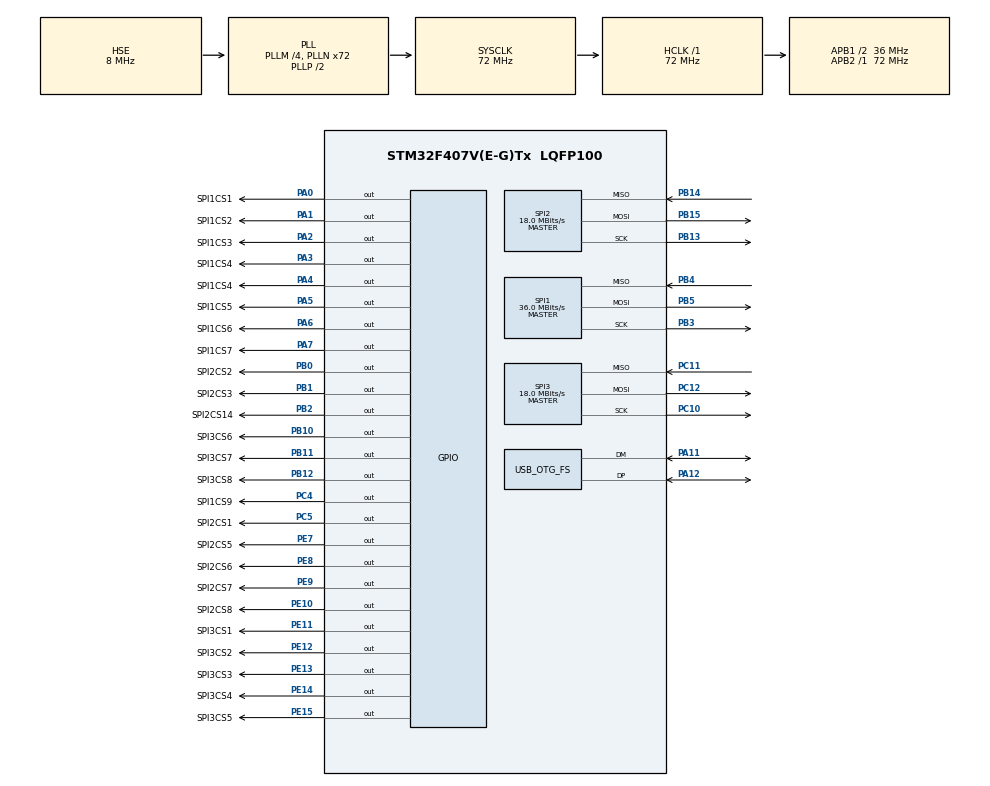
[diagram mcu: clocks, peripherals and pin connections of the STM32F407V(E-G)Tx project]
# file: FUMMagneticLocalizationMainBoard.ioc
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Mcu.Family=STM32F4
Mcu.Name=STM32F407V(E-G)Tx
Mcu.Package=LQFP100
NVIC.OTG_FS_IRQn=true\:0\:0\:false\:false\:true
NVIC.PriorityGroup=NVIC_PRIORITYGROUP_4
PA0-WKUP.GPIO_Label=SPI1CS1
PA0-WKUP.Signal=GPIO_Output
PA1.GPIO_Label=SPI1CS2
PA1.Signal=GPIO_Output
PA11.Mode=Device_Only
PA11.Signal=USB_OTG_FS_DM
PA12.Mode=Device_Only
PA12.Signal=USB_OTG_FS_DP
PA13.Mode=Serial_Wire
PA13.Signal=SYS_JTMS-SWDIO
PA14.Mode=Serial_Wire
PA14.Signal=SYS_JTCK-SWCLK
PA2.GPIO_Label=SPI1CS3
PA2.Signal=GPIO_Output
PA3.GPIO_Label=SPI1CS4
PA3.Signal=GPIO_Output
PA4.GPIO_Label=SPI1CS4
PA4.Signal=GPIO_Output
PA5.GPIO_Label=SPI1CS5
PA5.Signal=GPIO_Output
PA6.GPIO_Label=SPI1CS6
PA6.Signal=GPIO_Output
PA7.GPIO_Label=SPI1CS7
PA7.Signal=GPIO_Output
PB0.GPIO_Label=SPI2CS2
PB0.Signal=GPIO_Output
PB1.GPIO_Label=SPI2CS3
PB1.Signal=GPIO_Output
PB10.GPIO_Label=SPI3CS6
PB10.Signal=GPIO_Output
PB11.GPIO_Label=SPI3CS7
PB11.Signal=GPIO_Output
PB12.GPIO_Label=SPI3CS8
PB12.Signal=GPIO_Output
PB13.Mode=Full_Duplex_Master
PB13.Signal=SPI2_SCK
PB14.Mode=Full_Duplex_Master
PB14.Signal=SPI2_MISO
PB15.Mode=Full_Duplex_Master
PB15.Signal=SPI2_MOSI
PB2.GPIO_Label=SPI2CS14
PB2.Signal=GPIO_Output
PB3.Mode=Full_Duplex_Master
PB3.Signal=SPI1_SCK
PB4.Mode=Full_Duplex_Master
PB4.Signal=SPI1_MISO
PB5.Mode=Full_Duplex_Master
PB5.Signal=SPI1_MOSI
PC10.Mode=Full_Duplex_Master
PC10.Signal=SPI3_SCK
PC11.Mode=Full_Duplex_Master
PC11.Signal=SPI3_MISO
PC12.Mode=Full_Duplex_Master
PC12.Signal=SPI3_MOSI
PC4.GPIO_Label=SPI1CS9
PC4.Signal=GPIO_Output
PC5.GPIO_Label=SPI2CS1
PC5.Signal=GPIO_Output
PE10.GPIO_Label=SPI2CS8
PE10.Signal=GPIO_Output
PE11.GPIO_Label=SPI3CS1
PE11.Signal=GPIO_Output
PE12.GPIO_Label=SPI3CS2
PE12.Signal=GPIO_Output
PE13.GPIO_Label=SPI3CS3
PE13.Signal=GPIO_Output
PE14.GPIO_Label=SPI3CS4
PE14.Signal=GPIO_Output
PE15.GPIO_Label=SPI3CS5
PE15.Signal=GPIO_Output
PE7.GPIO_Label=SPI2CS5
PE7.Signal=GPIO_Output
PE8.GPIO_Label=SPI2CS6
PE8.Signal=GPIO_Output
PE9.GPIO_Label=SPI2CS7
PE9.Signal=GPIO_Output
PH0-OSC_IN.Mode=HSE-External-Oscillator
PH0-OSC_IN.Signal=RCC_OSC_IN
PH1-OSC_OUT.Mode=HSE-External-Oscillator
PH1-OSC_OUT.Signal=RCC_OSC_OUT
ProjectManager.HeapSize=0x200
ProjectManager.StackSize=0x400
ProjectManager.TargetToolchain=SW4STM32
RCC.48MHZClocksFreq_Value=48000000
RCC.AHBFreq_Value=72000000
RCC.APB1CLKDivider=RCC_HCLK_DIV2
RCC.APB1Freq_Value=36000000
RCC.APB1TimFreq_Value=72000000
RCC.APB2Freq_Value=72000000
RCC.APB2TimFreq_Value=72000000
RCC.CortexFreq_Value=72000000
RCC.HCLKFreq_Value=72000000
RCC.HSE_VALUE=8000000
RCC.HSI_VALUE=16000000
RCC.LSE_VALUE=32768
RCC.PLLM=4
RCC.PLLN=72
RCC.PLLQ=3
RCC.SYSCLKFreq_VALUE=72000000
RCC.SYSCLKSource=RCC_SYSCLKSOURCE_PLLCLK
RCC.VCOOutputFreq_Value=144000000
SPI1.CalculateBaudRate=36.0 MBits/s
SPI1.Mode=SPI_MODE_MASTER
SPI2.CalculateBaudRate=18.0 MBits/s
SPI2.Mode=SPI_MODE_MASTER
SPI3.CalculateBaudRate=18.0 MBits/s
SPI3.Mode=SPI_MODE_MASTER
USB_DEVICE.CLASS_NAME_FS=CDC
USB_DEVICE.USBD_MAX_STR_DESC_SIZ-CDC_FS=512
USB_DEVICE.VirtualModeFS=Cdc_FS
USB_OTG_FS.VirtualMode=Device_Only
USB_OTG_FS.vbus_sensing_enable=DISABLE
VP_USB_DEVICE_VS_USB_DEVICE_CDC_FS.Mode=CDC_FS
board=FUMMagneticLocalizationMainBoard

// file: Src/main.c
/**
 ******************************************************************************
 * File Name          : main.c
 * Description        : Main program body
 ******************************************************************************
 *
 * Copyright (c) 2017 STMicroelectronics International N.V.
 * All rights reserved.
 *
 * Redistribution and use in source and binary forms, with or without
 * modification, are permitted, provided that the following conditions are met:
 *
 * 1. Redistribution of source code must retain the above copyright notice,
 *    this list of conditions and the following disclaimer.
 * 2. Redistributions in binary form must reproduce the above copyright notice,
 *    this list of conditions and the following disclaimer in the documentation
 *    and/or other materials provided with the distribution.
 * 3. Neither the name of STMicroelectronics nor the names of other
 *    contributors to this software may be used to endorse or promote products
 *    derived from this software without specific written permission.
 * 4. This software, including modifications and/or derivative works of this
 *    software, must execute solely and exclusively on microcontroller or
 *    microprocessor devices manufactured by or for STMicroelectronics.
 * 5. Redistribution and use of this software other than as permitted under
 *    this license is void and will automatically terminate your rights under
 *    this license.
 *
 * THIS SOFTWARE IS PROVIDED BY STMICROELECTRONICS AND CONTRIBUTORS "AS IS"
 * AND ANY EXPRESS, IMPLIED OR STATUTORY WARRANTIES, INCLUDING, BUT NOT
 * LIMITED TO, THE IMPLIED WARRANTIES OF MERCHANTABILITY, FITNESS FOR A
 * PARTICULAR PURPOSE AND NON-INFRINGEMENT OF THIRD PARTY INTELLECTUAL PROPERTY
 * RIGHTS ARE DISCLAIMED TO THE FULLEST EXTENT PERMITTED BY LAW. IN NO EVENT
 * SHALL STMICROELECTRONICS OR CONTRIBUTORS BE LIABLE FOR ANY DIRECT, INDIRECT,
 * INCIDENTAL, SPECIAL, EXEMPLARY, OR CONSEQUENTIAL DAMAGES (INCLUDING, BUT NOT
 * LIMITED TO, PROCUREMENT OF SUBSTITUTE GOODS OR SERVICES; LOSS OF USE, DATA,
 * OR PROFITS; OR BUSINESS INTERRUPTION) HOWEVER CAUSED AND ON ANY THEORY OF
 * LIABILITY, WHETHER IN CONTRACT, STRICT LIABILITY, OR TORT (INCLUDING
 * NEGLIGENCE OR OTHERWISE) ARISING IN ANY WAY OUT OF THE USE OF THIS SOFTWARE,
 * EVEN IF ADVISED OF THE POSSIBILITY OF SUCH DAMAGE.
 *
 ******************************************************************************
 */
#include "main.h"
#include "stm32f4xx_hal.h"
#include "spi.h"
#include "usb_device.h"
#include "gpio.h"

/* USER CODE BEGIN Includes */
#include "lis3mdl.h"
/* USER CODE END Includes */

#define NumOfSensors 1
/* USER CODE BEGIN PV */
/* Private variables ---------------------------------------------------------*/

/* USER CODE END PV */

void SystemClock_Config(void);
void Error_Handler(void);

/* USER CODE BEGIN PFP */
/* Private function prototypes -----------------------------------------------*/
/* USER CODE END PFP */

/* USER CODE BEGIN 0 */
HAL_StatusTypeDef LIS3MDL_ConnectAndConfig(LIS3MDL* Sensors,
		SPI_HandleTypeDef* spi, GPIO_TypeDef* gpio, uint16_t _pin,
		uint8_t performance, uint8_t mode, uint8_t scale, int8_t enableTemp);
int _write(int fd, char *ptr, int len) {
	CDC_Transmit_FS((uint8_t*) ptr, len);
	return len;
}
/* USER CODE END 0 */

int main(void) {

	/* MCU Configuration----------------------------------------------------------*/

	/* Reset of all peripherals, Initializes the Flash interface and the Systick. */
	HAL_Init();

	/* Configure the system clock */
	SystemClock_Config();

	/* Initialize all configured peripherals */
	MX_GPIO_Init();
	MX_SPI1_Init();
	MX_SPI2_Init();
	MX_SPI3_Init();
	MX_USB_DEVICE_Init();

	/* USER CODE BEGIN 2 */
	printf("sadra is here\r\n");
	HAL_StatusTypeDef status = HAL_BUSY;
	uint8_t res = 0x00;
//	LIS3MDL this;
	LIS3MDL Sensor[NumOfSensors];
	LIS3MDL_ConnectAndConfig(&Sensor[0],&hspi3,SPI3CS8_GPIO_Port,SPI3CS8_Pin,LIS3MDL_PERFORMANCE_ULTRA_HIGH,LIS3MDL_MODE_CONTINUOUS,LIS3MDL_SCALE_16_GAUSS,1);;
//	(LIS3MDL_readStatus(&Sensor[0], &res) == 0) ?
//			printf("LIS3MDL Status :  %d\r\n", res) :
//			printf("failed to get status\r\n");

	int16_t val[3] = { 0 };

	/* USER CODE END 2 */

	/* Infinite loop */
	while (1) {

		/* USER CODE BEGIN 3 */
		LIS3MDL_readTemperature(&Sensor[0], &res);
		LIS3MDL_readAxis(&Sensor[0], 0, &val[0]);
		LIS3MDL_readAxis(&Sensor[0], 1, &val[1]);
		LIS3MDL_readAxis(&Sensor[0], 2, &val[2]);

		printf("%d   %d    %d    %d \n", res, val[0], val[1], val[2]);
		HAL_Delay(100);
	}
	/* USER CODE END 3 */

}

/** System Clock Configuration
 */
void SystemClock_Config(void) {

	RCC_OscInitTypeDef RCC_OscInitStruct;
	RCC_ClkInitTypeDef RCC_ClkInitStruct;

	/**Configure the main internal regulator output voltage
	 */
	__HAL_RCC_PWR_CLK_ENABLE()
	;

	__HAL_PWR_VOLTAGESCALING_CONFIG(PWR_REGULATOR_VOLTAGE_SCALE1);

	/**Initializes the CPU, AHB and APB busses clocks
	 */
	RCC_OscInitStruct.OscillatorType = RCC_OSCILLATORTYPE_HSE;
	RCC_OscInitStruct.HSEState = RCC_HSE_ON;
	RCC_OscInitStruct.PLL.PLLState = RCC_PLL_ON;
	RCC_OscInitStruct.PLL.PLLSource = RCC_PLLSOURCE_HSE;
	RCC_OscInitStruct.PLL.PLLM = 4;
	RCC_OscInitStruct.PLL.PLLN = 72;
	RCC_OscInitStruct.PLL.PLLP = RCC_PLLP_DIV2;
	RCC_OscInitStruct.PLL.PLLQ = 3;
	if (HAL_RCC_OscConfig(&RCC_OscInitStruct) != HAL_OK) {
		Error_Handler();
	}

	/**Initializes the CPU, AHB and APB busses clocks
	 */
	RCC_ClkInitStruct.ClockType = RCC_CLOCKTYPE_HCLK | RCC_CLOCKTYPE_SYSCLK
			| RCC_CLOCKTYPE_PCLK1 | RCC_CLOCKTYPE_PCLK2;
	RCC_ClkInitStruct.SYSCLKSource = RCC_SYSCLKSOURCE_PLLCLK;
	RCC_ClkInitStruct.AHBCLKDivider = RCC_SYSCLK_DIV1;
	RCC_ClkInitStruct.APB1CLKDivider = RCC_HCLK_DIV2;
	RCC_ClkInitStruct.APB2CLKDivider = RCC_HCLK_DIV1;

	if (HAL_RCC_ClockConfig(&RCC_ClkInitStruct, FLASH_LATENCY_2) != HAL_OK) {
		Error_Handler();
	}

	/**Configure the Systick interrupt time
	 */
	HAL_SYSTICK_Config(HAL_RCC_GetHCLKFreq() / 1000);

	/**Configure the Systick
	 */
	HAL_SYSTICK_CLKSourceConfig(SYSTICK_CLKSOURCE_HCLK);

	/* SysTick_IRQn interrupt configuration */
	HAL_NVIC_SetPriority(SysTick_IRQn, 0, 0);
}

/* USER CODE BEGIN 4 */
HAL_StatusTypeDef LIS3MDL_ConnectAndConfig(LIS3MDL* Sensors,
		SPI_HandleTypeDef* spi, GPIO_TypeDef* gpio, uint16_t _pin,
		uint8_t performance, uint8_t mode, uint8_t scale, int8_t enableTemp) {
	HAL_StatusTypeDef status = HAL_ERROR;
	while (HAL_OK
			!= LIS3MDL_setup(&Sensors[0], &hspi3, SPI3CS8_GPIO_Port,
					SPI3CS8_Pin)) {
		printf("can't init LIS3MDL\r\n");
		HAL_Delay(500);
	}
	printf("Connected to LIS3MDL...\r\n");
	if (enableTemp)
		status = LIS3MDL_enableTemperature(&Sensors[0]);
//	(status == HAL_ERROR) ? return HAL_ERROR :status = HAL_ERROR ;
	//(LIS3MDL_readTemperature(&res) ==0) ? printf("LIS3MDL temp : %d\r\n",res) : printf("failed to get status\n") ;
	status = LIS3MDL_setPerformance(&Sensors[0],
			LIS3MDL_PERFORMANCE_ULTRA_HIGH);

	status = LIS3MDL_setMode(&Sensors[0], LIS3MDL_MODE_CONTINUOUS);
	status = LIS3MDL_setScale(&Sensors[0], LIS3MDL_SCALE_16_GAUSS);
	return HAL_OK;
}
/* USER CODE END 4 */

void Error_Handler(void) {
	while (1) {
	}
}

/************************ (C) COPYRIGHT STMicroelectronics *****END OF FILE****/
